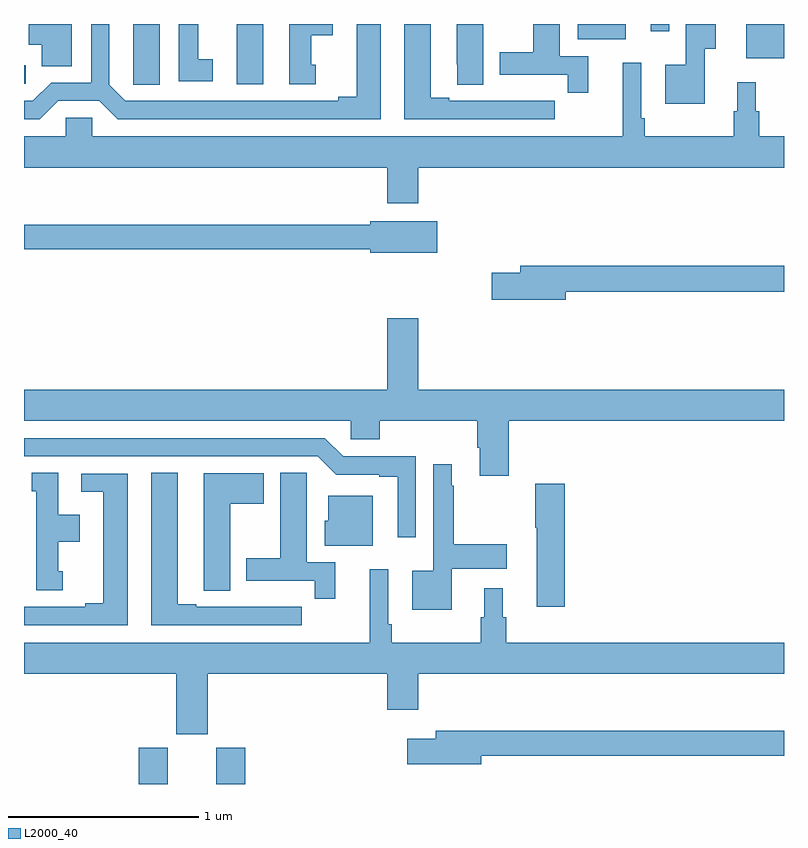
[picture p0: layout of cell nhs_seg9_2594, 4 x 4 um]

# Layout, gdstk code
import gdstk
lib = gdstk.Library(unit=1e-6, precision=1e-09)
def R(c, l, rs):  # rectangles x0, y0, x1, y1
    for r in rs: c.add(gdstk.rectangle(r[:2], r[2:], *l))
def P(c, l, *ps):  # polygons
    for p in ps: c.add(gdstk.Polygon(p, *l))
L2000_40 = (2000, 40)

nhs_seg9_2594 = lib.new_cell('nhs_seg9_2594')
R(nhs_seg9_2594, L2000_40, [(259.604,1202.5,259.756,1202.691), (260.012,1202.5,260.165,1202.691), (260.12,1206.183,260.26,1206.5), (259,1206.186,259.009,1206.282), (262.802,1206.32,263,1206.5), (261.914,1206.419,262.168,1206.5), (262.298,1206.462,262.395,1206.5)])
P(nhs_seg9_2594, L2000_40, [(260.536,1206.285),(260.512,1206.285),(260.512,1206.44),(260.626,1206.44),(260.626,1206.5),(260.396,1206.5),(260.396,1206.183),(260.536,1206.183)],
  [(259.714,1206.5),(259.574,1206.5),(259.574,1206.289),(259.575,1206.289),(259.575,1206.181),(259.714,1206.181)],
  [(259.993,1206.314),(259.918,1206.314),(259.918,1206.5),(259.814,1206.5),(259.814,1206.198),(259.993,1206.198)],
  [(259.252,1206.5),(259.025,1206.5),(259.025,1206.392),(259.094,1206.392),(259.094,1206.277),(259.252,1206.277)],
  [(261.793,1206.096),(261.68,1206.096),(261.68,1206.097),(261.514,1206.097),(261.514,1206.096),(261.238,1206.096),(261.238,1206.111),(261.142,1206.111),(261.142,1206.5),(261.002,1206.5),(261.002,1206),(261.793,1206)],
  [(261.418,1206.5),(261.278,1206.5),(261.278,1206.289),(261.279,1206.289),(261.279,1206.181),(261.418,1206.181)],
  [(261.971,1206.33),(261.82,1206.33),(261.82,1206.5),(261.68,1206.5),(261.68,1206.351),(261.503,1206.351),(261.503,1206.234),(261.862,1206.234),(261.862,1206.138),(261.971,1206.138)],
  [(262.584,1206.371),(262.642,1206.371),(262.642,1206.5),(262.483,1206.5),(262.483,1206.286),(262.376,1206.286),(262.376,1206.08),(262.584,1206.08)],
  [(259.179,1206.096),(259.397,1206.096),(259.493,1206),(260.878,1206),(260.878,1206.5),(260.75,1206.5),(260.75,1206.116),(260.654,1206.116),(260.654,1206.096),(259.533,1206.096),(259.449,1206.18),(259.449,1206.5),(259.353,1206.5),(259.353,1206.192),(259.143,1206.192),(259.047,1206.096),(259,1206.096),(259,1206),(259.083,1206)],
  [(261.076,1205.744),(263,1205.744),(263,1205.908),(262.871,1205.908),(262.871,1206.042),(262.852,1206.042),(262.852,1206.193),(262.754,1206.193),(262.754,1206.042),(262.735,1206.042),(262.735,1205.908),(262.268,1205.908),(262.268,1206.004),(262.248,1206.004),(262.248,1206.295),(262.151,1206.295),(262.151,1205.908),(259.359,1205.908),(259.359,1206.006),(259.221,1206.006),(259.221,1205.908),(259,1205.908),(259,1205.744),(260.912,1205.744),(260.912,1205.556),(261.076,1205.556)],
  [(261.175,1205.461),(260.822,1205.461),(260.822,1205.443),(259,1205.443),(259,1205.314),(260.822,1205.314),(260.822,1205.296),(261.175,1205.296)],
  [(261.85,1205.092),(263,1205.092),(263,1205.228),(261.611,1205.228),(261.611,1205.192),(261.462,1205.192),(261.462,1205.05),(261.85,1205.05)],
  [(261.551,1204.412),(263,1204.412),(263,1204.576),(261.076,1204.576),(261.076,1204.951),(260.912,1204.951),(260.912,1204.576),(259,1204.576),(259,1204.412),(260.721,1204.412),(260.721,1204.314),(260.873,1204.314),(260.873,1204.412),(261.386,1204.412),(261.386,1204.27),(261.398,1204.27),(261.398,1204.122),(261.551,1204.122)],
  [(261.063,1204.224),(260.679,1204.224),(260.583,1204.32),(259,1204.32),(259,1204.224),(260.547,1204.224),(260.643,1204.128),(260.87,1204.128),(260.87,1204.116),(260.966,1204.116),(260.966,1203.798),(261.063,1203.798)],
  [(261.25,1203.632),(261.541,1203.632),(261.541,1203.762),(261.262,1203.762),(261.262,1204.07),(261.25,1204.07),(261.25,1204.183),(261.153,1204.183),(261.153,1203.622),(261.044,1203.622),(261.044,1203.416),(261.25,1203.416)],
  [(260.461,1203.432),(260.348,1203.432),(260.348,1203.433),(260.182,1203.433),(260.182,1203.432),(259.906,1203.432),(259.906,1203.447),(259.81,1203.447),(259.81,1204.139),(259.67,1204.139),(259.67,1203.336),(260.461,1203.336)],
  [(260.639,1203.666),(260.488,1203.666),(260.488,1204.028),(260.487,1204.028),(260.487,1204.139),(260.348,1204.139),(260.348,1203.687),(260.171,1203.687),(260.171,1203.57),(260.53,1203.57),(260.53,1203.474),(260.639,1203.474)],
  [(259.204,1203.621),(259.18,1203.621),(259.18,1203.776),(259.294,1203.776),(259.294,1203.916),(259.18,1203.916),(259.18,1204.139),(259.04,1204.139),(259.04,1204.041),(259.064,1204.041),(259.064,1203.519),(259.204,1203.519)],
  [(260.086,1203.976),(260.263,1203.976),(260.263,1204.135),(259.946,1204.135),(259.946,1203.625),(259.947,1203.625),(259.947,1203.517),(260.086,1203.517)],
  [(259.546,1204.134),(259.302,1204.134),(259.302,1204.038),(259.418,1204.038),(259.418,1203.452),(259.322,1203.452),(259.322,1203.432),(259,1203.432),(259,1203.336),(259.546,1203.336)],
  [(261.845,1204.081),(261.691,1204.081),(261.691,1203.85),(261.698,1203.85),(261.698,1203.432),(261.845,1203.432)],
  [(260.836,1204.018),(260.6,1204.018),(260.6,1203.885),(260.582,1203.885),(260.582,1203.755),(260.836,1203.755)],
  [(259.966,1203.08),(260.912,1203.08),(260.912,1202.892),(261.076,1202.892),(261.076,1203.08),(263,1203.08),(263,1203.244),(261.539,1203.244),(261.539,1203.378),(261.52,1203.378),(261.52,1203.529),(261.422,1203.529),(261.422,1203.378),(261.403,1203.378),(261.403,1203.244),(260.936,1203.244),(260.936,1203.34),(260.916,1203.34),(260.916,1203.631),(260.819,1203.631),(260.819,1203.244),(259,1203.244),(259,1203.08),(259.802,1203.08),(259.802,1202.763),(259.966,1202.763)],
  [(261.406,1202.65),(263,1202.65),(263,1202.779),(261.167,1202.779),(261.167,1202.737),(261.018,1202.737),(261.018,1202.603),(261.406,1202.603)])

lib.write_gds('nhs_seg9_2594.gds')
